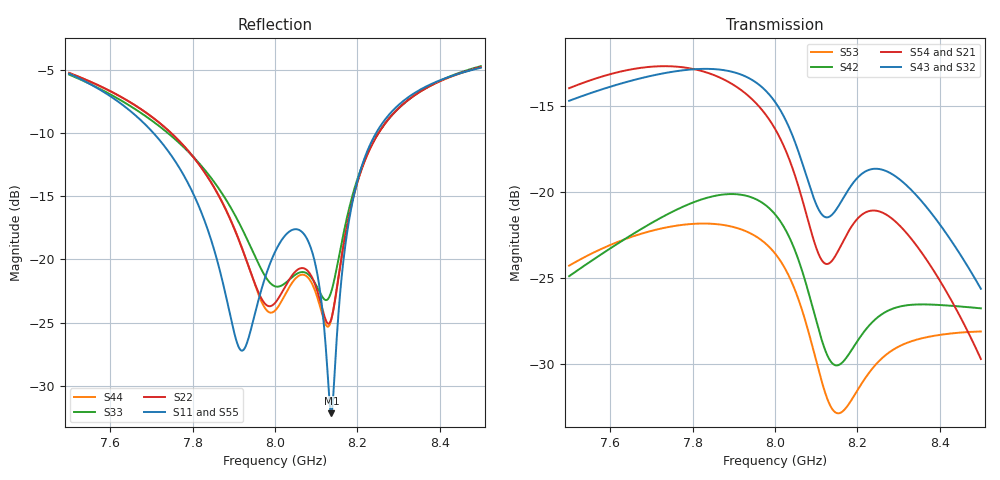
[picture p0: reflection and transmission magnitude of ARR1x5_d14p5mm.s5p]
! Touchstone file exported from HFSS 2025.1.0
!  File:  C:/Users/user/Documents/Ansoft/TFG_UWB-MIMO-Array.aedt
!  Generated:  09:03:12 PM Nov 21, 2026
!  Design:  ARR1x5_US3_PS4_2_1_dparam
!  Project:  TFG_UWB-MIMO-Array
!  Setup:  Setup_ch9
!  Solution:  Sweep_7p5_8p5
! Variables:
!  arr_d = 14.5mm
!  board_m = 13mm
!  board_x = 84mm
!  board_y = 26mm
!  cu_t = 0.035mm
!  line_w = 3.92mm
!  pad_xy = 22mm
!  pad_zn = 25mm
!  pad_zp = 33mm
!  par_L = 7.46mm
!  par_W = 10mm
!  par_yc = 0.75mm
!  par_z = 1.035mm
!  patch_L = 6.222mm
!  patch_W = 11.421266mm
!  sub_h = 2.07mm
!  tr_l = 6.6mm
!  tr_w = 0.8mm
!  u_Lu = 2.65mm
!  u_Wu = 4.4mm
!  u_t = 0.8mm
!  u_y0 = -0.7mm
# GHz S MA R 50.000000
! Terminal data exported
! Port[1] = P1
! Port[2] = P2
! Port[3] = P3
! Port[4] = P4
! Port[5] = P5
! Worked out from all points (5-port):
!   1001 points, 7.5 GHz to 8.5 GHz, reference 50 ohm
!   strongest paths, dB at 7.5 GHz, 7.75 GHz, 8 GHz, 8.25 GHz, 8.5 GHz:
!     S43: -14.7, -13.0, -14.8, -18.7, -25.6
!     S32: -14.7, -13.0, -14.8, -18.7, -25.7
!     S54: -14.0, -12.7, -16.3, -21.1, -29.7
!     S21: -14.0, -12.7, -16.4, -21.1, -30.0
!     S42: -24.9, -21.2, -21.3, -27.3, -26.7
!     S53: -24.3, -22.0, -23.6, -29.9, -28.1
!   lowest |S11| = -32.2 dB at 8.137 GHz (marker M1), VSWR 1.05, Z = 51.8 + j1.76 ohm
!   |S11| at or under -10 dB: 7.704 GHz to 8.246 GHz (541.3 MHz wide, 6.79 % of centre)
